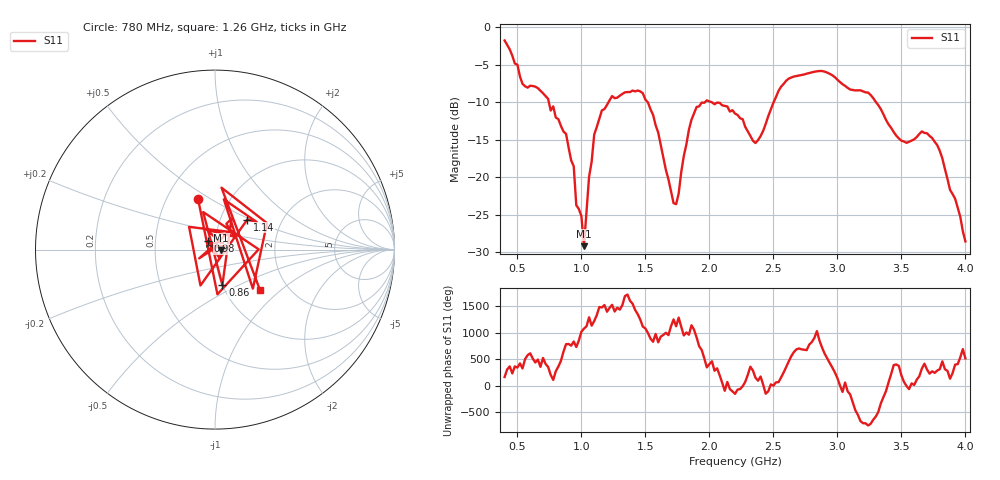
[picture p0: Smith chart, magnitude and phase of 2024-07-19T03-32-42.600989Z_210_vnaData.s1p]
!Created with skrf (http://scikit-rf.org).
# Hz S RI R 50.0
!freq ReS11 ImS11
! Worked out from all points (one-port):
!   181 points, 400 MHz to 4 GHz, reference 50 ohm
!   lowest |S11| = -29.2 dB at 1.02 GHz (marker M1), VSWR 1.07, Z = 53.6 - j0.351 ohm
!   |S11| at or under -10 dB: 745.6 MHz to 1.212 GHz (466.5 MHz wide, 47.7 % of centre); 2.016 GHz to 2.502 GHz (486.7 MHz wide, 21.5 % of centre); 3.302 GHz to end of sweep (the widest 3 of 4)
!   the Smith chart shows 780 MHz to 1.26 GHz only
!   S11 on the Smith chart (normalised r, x): 780 MHz: 0.72, +0.44; 860 MHz: 1.00, -0.41; 980 MHz: 0.92, +0.09; 1.14 GHz: 1.34, +0.48; 1.26 GHz: 1.45, -0.73
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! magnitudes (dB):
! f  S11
! 400 MHz  -1.8
! 540 MHz  -7.6
! 780 MHz  -10.6
! 860 MHz  -13.9
! 940 MHz  -18.5
! 960 MHz  -23.7
! 980 MHz  -24.2
! 1.02 GHz  -29.2
! 1.06 GHz  -19.9
! 1.1 GHz  -14.3
! 1.14 GHz  -12.2
! 1.26 GHz  -9.5
! 1.3 GHz  -9.1
! 1.48 GHz  -8.8
! 1.6 GHz  -14.1
! 1.72 GHz  -23.5
! 1.76 GHz  -22.2
! 1.84 GHz  -13.7
! 1.9 GHz  -10.6
! 2.2 GHz  -11.5
! 2.36 GHz  -15.5
! 2.54 GHz  -8.5
! 2.66 GHz  -6.6
! 3.1 GHz  -8.3
! 3.24 GHz  -8.7
! 3.56 GHz  -15.3
! 3.78 GHz  -15.7
! 4 GHz  -28.6
